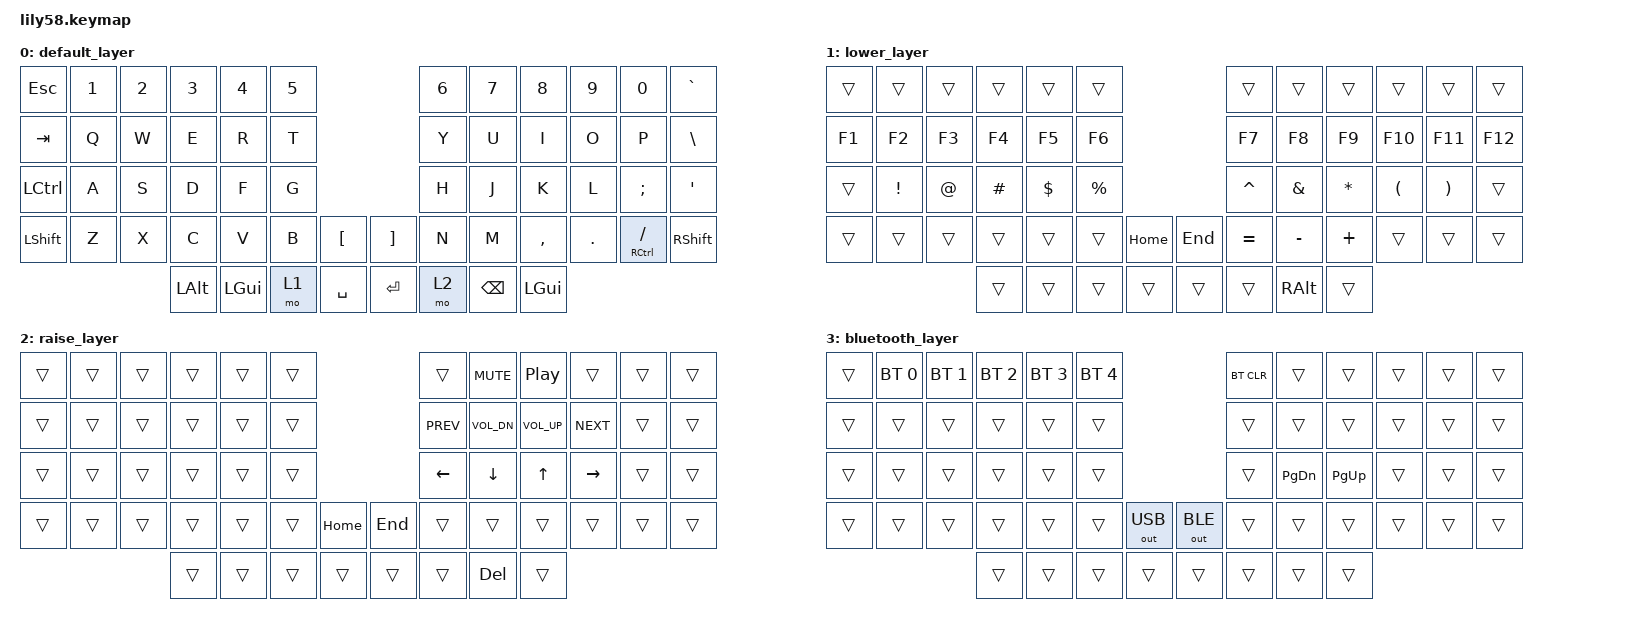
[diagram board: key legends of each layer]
/*
 * Copyright (c) 2020 The ZMK Contributors
 *
 * SPDX-License-Identifier: MIT
 */

#include <behaviors.dtsi>
#include <dt-bindings/zmk/keys.h>
#include <dt-bindings/zmk/bt.h>
#include <dt-bindings/zmk/ext_power.h>
#include <dt-bindings/zmk/outputs.h>

#define DEFAULT 0
#define LOWER 1
#define RAISE 2
#define BT 3

/ {
    combos {
        compatible = "zmk,combos";
        combo_bt_layer {
            timeout-ms = <50>;
            key-positions = <52 55>;
            bindings = <&mo 3>;
        };
        combo_capslock {
            timeout-ms = <50>;
            key-positions = <36 49>;
            bindings = <&kp CAPSLOCK>;
        };
        print_combo {
            timeout-ms = <50>;
            key-positions = <55 56 57>;
            bindings = <&kp PRINTSCREEN>;
        };
    };
};

/ {
    keymap {
        compatible = "zmk,keymap";
        default_layer {
// ------------------------------------------------------------------------------------------------------------
// |  ESC  |  1  |  2  |  3   |  4   |  5   |                   |  6   |  7    |  8    |  9   |   0   |   `   |
// |  TAB  |  Q  |  W  |  E   |  R   |  T   |                   |  Y   |  U    |  I    |  O   |   P   | BSLH  |
// |  CTRL |  A  |  S  |  D   |  F   |  G   |                   |  H   |  J    |  K    |  L   |   ;   |   '   |
// | SHIFT |  Z  |  X  |  C   |  V   |  B   |    [   |  |   ]   |  N   |  M    |  ,    |  .   |   /   | SHIFT |
//                     | ALT  | GUI  | LOWER|  SPACE |  | ENTER | RAISE| BSPC  | GUI   |
            bindings = <
&kp ESC   &kp N1 &kp N2 &kp N3   &kp N4   &kp N5                     &kp N6 &kp N7   &kp N8    &kp N9  &kp N0         &kp GRAVE
&kp TAB   &kp Q  &kp W  &kp E    &kp R    &kp T                      &kp Y  &kp U    &kp I     &kp O   &kp P          &kp BSLH
&kp LCTRL &kp A  &kp S  &kp D    &kp F    &kp G                      &kp H  &kp J    &kp K     &kp L   &kp SEMI       &kp APOS
&kp LSHFT &kp Z  &kp X  &kp C    &kp V    &kp B  &kp LBKT   &kp RBKT &kp N  &kp M    &kp COMMA &kp DOT &mt RCTRL FSLH &kp RSHFT
                        &kp LALT &kp LGUI &mo 1  &kp SPACE  &kp RET  &mo 2  &kp BSPC &kp LGUI
            >;
        };
        lower_layer {
// ------------------------------------------------------------------------------------------------------------
// |       |     |     |      |      |      |                   |      |       |       |      |       |       |
// |  F1   |  F2 |  F3 |  F4  |  F5  |  F6  |                   |  F7  |  F8   |  F9   |  F10 |  F11  |  F12  |
// |   `   |  !  |  @  |  #   |  $   |  %   |                   |  ^   |  &    |  *    |  (   |   )   |       |
// |       |     |     |      |      |      |        |  |       |  =   |  -    |  +    |      |       |       |
//                     |      |      |      |        |  |       |      |  ALT  |       |
            bindings = <
&trans &trans   &trans &trans   &trans     &trans                      &trans    &trans    &trans   &trans    &trans    &trans
&kp F1 &kp F2   &kp F3 &kp F4   &kp F5     &kp F6                      &kp F7    &kp F8    &kp F9   &kp F10   &kp F11   &kp F12
&trans &kp EXCL &kp AT &kp HASH &kp DOLLAR &kp PRCNT                   &kp CARET &kp AMPS  &kp STAR &kp LPAR  &kp RPAR  &trans
&trans &trans   &trans &trans   &trans     &trans    &kp HOME  &kp END &kp EQUAL &kp MINUS &kp PLUS &trans    &trans    &trans
                       &trans   &trans     &trans    &trans    &trans  &trans    &kp RALT  &trans
            >;
        };
        raise_layer {
// ------------------------------------------------------------------------------------------------------------
// |       |     |     |      |      |      |                   |      | MUTE  | PAUSE |      |       |       |
// |       |     |     |      |      |      |                   | PREV |VOL_DN |VOL_UP | NEXT |       |       |
// |       |     |     |      |      |      |                   | LEFT | DOWN  |  UP   | RIGHT|       |       |
// |       |     |     |      |      |      |        |  |       |      |       |       |      |       |       |
//                     |      |      |      |        |  |       |      |  DEL  |       |
            bindings = <
&trans &trans &trans &trans &trans &trans                   &trans     &kp C_MUTE   &kp C_PP     &trans     &trans &trans
&trans &trans &trans &trans &trans &trans                   &kp C_PREV &kp C_VOL_DN &kp C_VOL_UP &kp C_NEXT &trans &trans
&trans &trans &trans &trans &trans &trans                   &kp LEFT   &kp DOWN     &kp UP       &kp RIGHT  &trans &trans
&trans &trans &trans &trans &trans &trans &kp HOME  &kp END &trans     &trans       &trans       &trans     &trans &trans
                     &trans &trans &trans &trans    &trans  &trans     &kp DEL      &trans
            >;
        };
        bluetooth_layer {
// ------------------------------------------------------------------------------------------------------------
// |       | BT1 | BT2 |  BT3 | BT4  | BT5  |                   |BT CLR|       |       |      |       |       |
// |       |     |     |      |      |      |                   |      |       |       |      |       |       |
// |       |     |     |      |      |      |                   |      | PG_DN | PG_UP |      |       |       |
// |       |     |     |      |      |      | USB OUT|  | BT OUT|      |       |       |      |       |       |
//                     |      |      |      |        |  |       |      |       |       |
            bindings = <
&trans &bt BT_SEL 0 &bt BT_SEL 1 &bt BT_SEL 2 &bt BT_SEL 3 &bt BT_SEL 4                      &bt BT_CLR &trans    &trans    &trans &trans &trans
&trans &trans       &trans       &trans       &trans       &trans                            &trans     &trans    &trans    &trans &trans &trans
&trans &trans       &trans       &trans       &trans       &trans                            &trans     &kp PG_DN &kp PG_UP &trans &trans &trans
&trans &trans       &trans       &trans       &trans       &trans &out OUT_USB  &out OUT_BLE &trans     &trans    &trans    &trans &trans &trans
                                 &trans       &trans       &trans &trans        &trans       &trans     &trans    &trans
            >;
        };
    };
};
